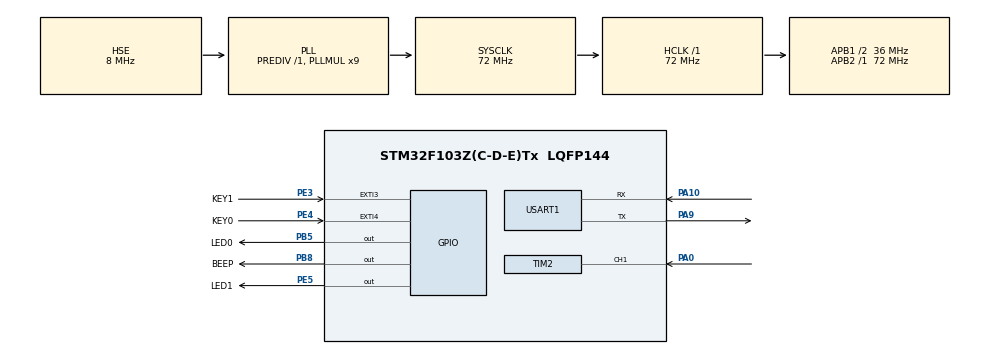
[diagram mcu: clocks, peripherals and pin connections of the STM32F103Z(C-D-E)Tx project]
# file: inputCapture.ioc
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Mcu.Family=STM32F1
Mcu.Name=STM32F103Z(C-D-E)Tx
Mcu.Package=LQFP144
NVIC.EXTI3_IRQn=true\:1\:0\:true\:false\:true\:true\:true
NVIC.EXTI4_IRQn=true\:1\:0\:true\:false\:true\:true\:true
NVIC.PriorityGroup=NVIC_PRIORITYGROUP_4
NVIC.TIM2_IRQn=true\:0\:0\:false\:false\:true\:true\:true
NVIC.USART1_IRQn=true\:0\:0\:false\:false\:true\:true\:true
OSC_IN.Mode=HSE-External-Oscillator
OSC_IN.Signal=RCC_OSC_IN
OSC_OUT.Mode=HSE-External-Oscillator
OSC_OUT.Signal=RCC_OSC_OUT
PA0-WKUP.GPIO_PuPd=GPIO_PULLDOWN
PA0-WKUP.Signal=S_TIM2_CH1_ETR
PA10.Mode=Asynchronous
PA10.Signal=USART1_RX
PA13.Mode=Serial_Wire
PA13.Signal=SYS_JTMS-SWDIO
PA14.Mode=Serial_Wire
PA14.Signal=SYS_JTCK-SWCLK
PA9.Mode=Asynchronous
PA9.Signal=USART1_TX
PB5.GPIO_Label=LED0
PB5.PinState=GPIO_PIN_SET
PB5.Signal=GPIO_Output
PB8.GPIO_Label=BEEP
PB8.Signal=GPIO_Output
PE3.GPIO_Label=KEY1
PE3.GPIO_ModeDefaultEXTI=GPIO_MODE_IT_FALLING
PE3.GPIO_PuPd=GPIO_PULLUP
PE3.Signal=GPXTI3
PE4.GPIO_Label=KEY0
PE4.GPIO_ModeDefaultEXTI=GPIO_MODE_IT_FALLING
PE4.GPIO_PuPd=GPIO_PULLUP
PE4.Signal=GPXTI4
PE5.GPIO_Label=LED1
PE5.PinState=GPIO_PIN_SET
PE5.Signal=GPIO_Output
ProjectManager.HeapSize=0x200
ProjectManager.StackSize=0x400
ProjectManager.TargetToolchain=SW4STM32
RCC.AHBFreq_Value=72000000
RCC.APB1CLKDivider=RCC_HCLK_DIV2
RCC.APB1Freq_Value=36000000
RCC.APB1TimFreq_Value=72000000
RCC.APB2Freq_Value=72000000
RCC.APB2TimFreq_Value=72000000
RCC.HCLKFreq_Value=72000000
RCC.PLLMUL=RCC_PLL_MUL9
RCC.PLLSourceVirtual=RCC_PLLSOURCE_HSE
RCC.SYSCLKFreq_VALUE=72000000
RCC.SYSCLKSource=RCC_SYSCLKSOURCE_PLLCLK
RCC.USBFreq_Value=72000000
SH.S_TIM2_CH1_ETR.0=TIM2_CH1,Input_Capture1_from_TI1
TIM2.Channel-Input_Capture1_from_TI1=TIM_CHANNEL_1
TIM2.ICFilter_CH1=15
TIM2.Period=20000-1
TIM2.Prescaler=36000-1
USART1.VirtualMode=VM_ASYNC
VP_TIM2_VS_ClockSourceINT.Mode=Internal
board=custom

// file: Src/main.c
/* USER CODE BEGIN Header */
/**
  ******************************************************************************
  * @file           : main.c
  * @brief          : Main program body
  ******************************************************************************
  * @attention
  *
  * <h2><center>&copy; Copyright (c) 2019 STMicroelectronics.
  * All rights reserved.</center></h2>
  *
  * This software component is licensed by ST under BSD 3-Clause license,
  * the "License"; You may not use this file except in compliance with the
  * License. You may obtain a copy of the License at:
  *                        opensource.org/licenses/BSD-3-Clause
  *
  ******************************************************************************
  */
/* USER CODE END Header */

#include "main.h"

/* USER CODE BEGIN PTD */
typedef enum edge {
    rising,
    falling,
} edge;

/* USER CODE END PTD */

TIM_HandleTypeDef htim2;

UART_HandleTypeDef huart1;

/* USER CODE BEGIN PV */
edge ic_edge = rising;
uint32_t cnt_overflow = 0;
uint32_t cnt_val = 0;

/* USER CODE END PV */

void SystemClock_Config(void);
static void MX_GPIO_Init(void);
static void MX_TIM2_Init(void);
static void MX_USART1_UART_Init(void);

int main(void)
{

  /* MCU Configuration--------------------------------------------------------*/

  /* Reset of all peripherals, Initializes the Flash interface and the Systick. */
  HAL_Init();

  /* Configure the system clock */
  SystemClock_Config();

  /* Initialize all configured peripherals */
  MX_GPIO_Init();
  MX_TIM2_Init();
  MX_USART1_UART_Init();
  /* USER CODE BEGIN 2 */

    //1.开始输入捕获
    HAL_TIM_IC_Start_IT(&htim2, TIM_CHANNEL_1);
    //2.避免开启定时器中断的时候立即回掉一次
    // https://electronics.stackexchange.com/questions/161967/stm32-timer-interrupt-works-immediately
    __HAL_TIM_CLEAR_FLAG(&htim2, TIM_SR_UIF);
    //3.开启定时中断
    HAL_TIM_Base_Start_IT(&htim2);

  /* USER CODE END 2 */

  /* Infinite loop */
    while (1) {

    }
}

void SystemClock_Config(void)
{
  RCC_OscInitTypeDef RCC_OscInitStruct = {0};
  RCC_ClkInitTypeDef RCC_ClkInitStruct = {0};

  /** Initializes the CPU, AHB and APB busses clocks
  */
  RCC_OscInitStruct.OscillatorType = RCC_OSCILLATORTYPE_HSE;
  RCC_OscInitStruct.HSEState = RCC_HSE_ON;
  RCC_OscInitStruct.HSEPredivValue = RCC_HSE_PREDIV_DIV1;
  RCC_OscInitStruct.HSIState = RCC_HSI_ON;
  RCC_OscInitStruct.PLL.PLLState = RCC_PLL_ON;
  RCC_OscInitStruct.PLL.PLLSource = RCC_PLLSOURCE_HSE;
  RCC_OscInitStruct.PLL.PLLMUL = RCC_PLL_MUL9;
  if (HAL_RCC_OscConfig(&RCC_OscInitStruct) != HAL_OK)
  {
    Error_Handler();
  }
  /** Initializes the CPU, AHB and APB busses clocks
  */
  RCC_ClkInitStruct.ClockType = RCC_CLOCKTYPE_HCLK|RCC_CLOCKTYPE_SYSCLK
                              |RCC_CLOCKTYPE_PCLK1|RCC_CLOCKTYPE_PCLK2;
  RCC_ClkInitStruct.SYSCLKSource = RCC_SYSCLKSOURCE_PLLCLK;
  RCC_ClkInitStruct.AHBCLKDivider = RCC_SYSCLK_DIV1;
  RCC_ClkInitStruct.APB1CLKDivider = RCC_HCLK_DIV2;
  RCC_ClkInitStruct.APB2CLKDivider = RCC_HCLK_DIV1;

  if (HAL_RCC_ClockConfig(&RCC_ClkInitStruct, FLASH_LATENCY_2) != HAL_OK)
  {
    Error_Handler();
  }
}

static void MX_TIM2_Init(void)
{

  TIM_ClockConfigTypeDef sClockSourceConfig = {0};
  TIM_MasterConfigTypeDef sMasterConfig = {0};
  TIM_IC_InitTypeDef sConfigIC = {0};

  htim2.Instance = TIM2;
  htim2.Init.Prescaler = 36000-1;
  htim2.Init.CounterMode = TIM_COUNTERMODE_UP;
  htim2.Init.Period = 20000-1;
  htim2.Init.ClockDivision = TIM_CLOCKDIVISION_DIV1;
  htim2.Init.AutoReloadPreload = TIM_AUTORELOAD_PRELOAD_DISABLE;
  if (HAL_TIM_Base_Init(&htim2) != HAL_OK)
  {
    Error_Handler();
  }
  sClockSourceConfig.ClockSource = TIM_CLOCKSOURCE_INTERNAL;
  if (HAL_TIM_ConfigClockSource(&htim2, &sClockSourceConfig) != HAL_OK)
  {
    Error_Handler();
  }
  if (HAL_TIM_IC_Init(&htim2) != HAL_OK)
  {
    Error_Handler();
  }
  sMasterConfig.MasterOutputTrigger = TIM_TRGO_RESET;
  sMasterConfig.MasterSlaveMode = TIM_MASTERSLAVEMODE_DISABLE;
  if (HAL_TIMEx_MasterConfigSynchronization(&htim2, &sMasterConfig) != HAL_OK)
  {
    Error_Handler();
  }
  sConfigIC.ICPolarity = TIM_INPUTCHANNELPOLARITY_RISING;
  sConfigIC.ICSelection = TIM_ICSELECTION_DIRECTTI;
  sConfigIC.ICPrescaler = TIM_ICPSC_DIV1;
  sConfigIC.ICFilter = 15;
  if (HAL_TIM_IC_ConfigChannel(&htim2, &sConfigIC, TIM_CHANNEL_1) != HAL_OK)
  {
    Error_Handler();
  }

}

static void MX_USART1_UART_Init(void)
{

  huart1.Instance = USART1;
  huart1.Init.BaudRate = 115200;
  huart1.Init.WordLength = UART_WORDLENGTH_8B;
  huart1.Init.StopBits = UART_STOPBITS_1;
  huart1.Init.Parity = UART_PARITY_NONE;
  huart1.Init.Mode = UART_MODE_TX_RX;
  huart1.Init.HwFlowCtl = UART_HWCONTROL_NONE;
  huart1.Init.OverSampling = UART_OVERSAMPLING_16;
  if (HAL_UART_Init(&huart1) != HAL_OK)
  {
    Error_Handler();
  }

}

static void MX_GPIO_Init(void)
{
  GPIO_InitTypeDef GPIO_InitStruct = {0};

  /* GPIO Ports Clock Enable */
  __HAL_RCC_GPIOE_CLK_ENABLE();
  __HAL_RCC_GPIOA_CLK_ENABLE();
  __HAL_RCC_GPIOB_CLK_ENABLE();

  /*Configure GPIO pin Output Level */
  HAL_GPIO_WritePin(LED1_GPIO_Port, LED1_Pin, GPIO_PIN_SET);

  /*Configure GPIO pin Output Level */
  HAL_GPIO_WritePin(LED0_GPIO_Port, LED0_Pin, GPIO_PIN_SET);

  /*Configure GPIO pin Output Level */
  HAL_GPIO_WritePin(BEEP_GPIO_Port, BEEP_Pin, GPIO_PIN_RESET);

  /*Configure GPIO pins : KEY1_Pin KEY0_Pin */
  GPIO_InitStruct.Pin = KEY1_Pin|KEY0_Pin;
  GPIO_InitStruct.Mode = GPIO_MODE_IT_FALLING;
  GPIO_InitStruct.Pull = GPIO_PULLUP;
  HAL_GPIO_Init(GPIOE, &GPIO_InitStruct);

  /*Configure GPIO pin : LED1_Pin */
  GPIO_InitStruct.Pin = LED1_Pin;
  GPIO_InitStruct.Mode = GPIO_MODE_OUTPUT_PP;
  GPIO_InitStruct.Pull = GPIO_NOPULL;
  GPIO_InitStruct.Speed = GPIO_SPEED_FREQ_LOW;
  HAL_GPIO_Init(LED1_GPIO_Port, &GPIO_InitStruct);

  /*Configure GPIO pins : LED0_Pin BEEP_Pin */
  GPIO_InitStruct.Pin = LED0_Pin|BEEP_Pin;
  GPIO_InitStruct.Mode = GPIO_MODE_OUTPUT_PP;
  GPIO_InitStruct.Pull = GPIO_NOPULL;
  GPIO_InitStruct.Speed = GPIO_SPEED_FREQ_LOW;
  HAL_GPIO_Init(GPIOB, &GPIO_InitStruct);

  /* EXTI interrupt init*/
  HAL_NVIC_SetPriority(EXTI3_IRQn, 1, 0);
  HAL_NVIC_EnableIRQ(EXTI3_IRQn);

  HAL_NVIC_SetPriority(EXTI4_IRQn, 1, 0);
  HAL_NVIC_EnableIRQ(EXTI4_IRQn);

}

/* USER CODE BEGIN 4 */
/**
 * @param htim
 */
void HAL_TIM_IC_CaptureCallback(TIM_HandleTypeDef *htim) {
    //1.确保中断来自TIM2
    if (htim->Instance == TIM2) {
        if (ic_edge == rising) {
            //重置cnt
            __HAL_TIM_SET_COUNTER(htim, 0);
            //改变捕获极性,这里需要注意的是HAL库有错
            //https://community.st.com/s/question/0D50X0000B8j1TmSQI/package-for-stm32f1-series-180-trouble?t=1576208932817
            __HAL_TIM_SET_CAPTUREPOLARITY(&htim2, TIM_CHANNEL_1, TIM_INPUTCHANNELPOLARITY_FALLING);
            ic_edge = falling;
            cnt_val = 0;
            cnt_overflow = 0;
        } else {
            cnt_val = __HAL_TIM_GET_COUNTER(htim);
            // 72MHZ PSC=360000  这里time的值就是按键按下的时间
            double time = (0.0005 * cnt_val) + 10 * cnt_overflow;
            cnt_val = __HAL_TIM_GET_COUNTER(htim);
            __HAL_TIM_SET_CAPTUREPOLARITY(&htim2, TIM_CHANNEL_1, TIM_INPUTCHANNELPOLARITY_RISING);
            ic_edge = rising;
            cnt_val = 0;
            cnt_overflow = 0;
        }
    }
}

/**
 * 定时器溢出回调
 * @param htim
 */
void HAL_TIM_PeriodElapsedCallback(TIM_HandleTypeDef *htim) {
    //1.确保中断来自TIM2
    if (htim->Instance == TIM2) {
        //溢出切换led,便于观察
        HAL_GPIO_TogglePin(LED0_GPIO_Port, LED0_Pin);
        cnt_overflow += 1;
    }
}

/* USER CODE END 4 */

void Error_Handler(void)
{
}

/************************ (C) COPYRIGHT STMicroelectronics *****END OF FILE****/
